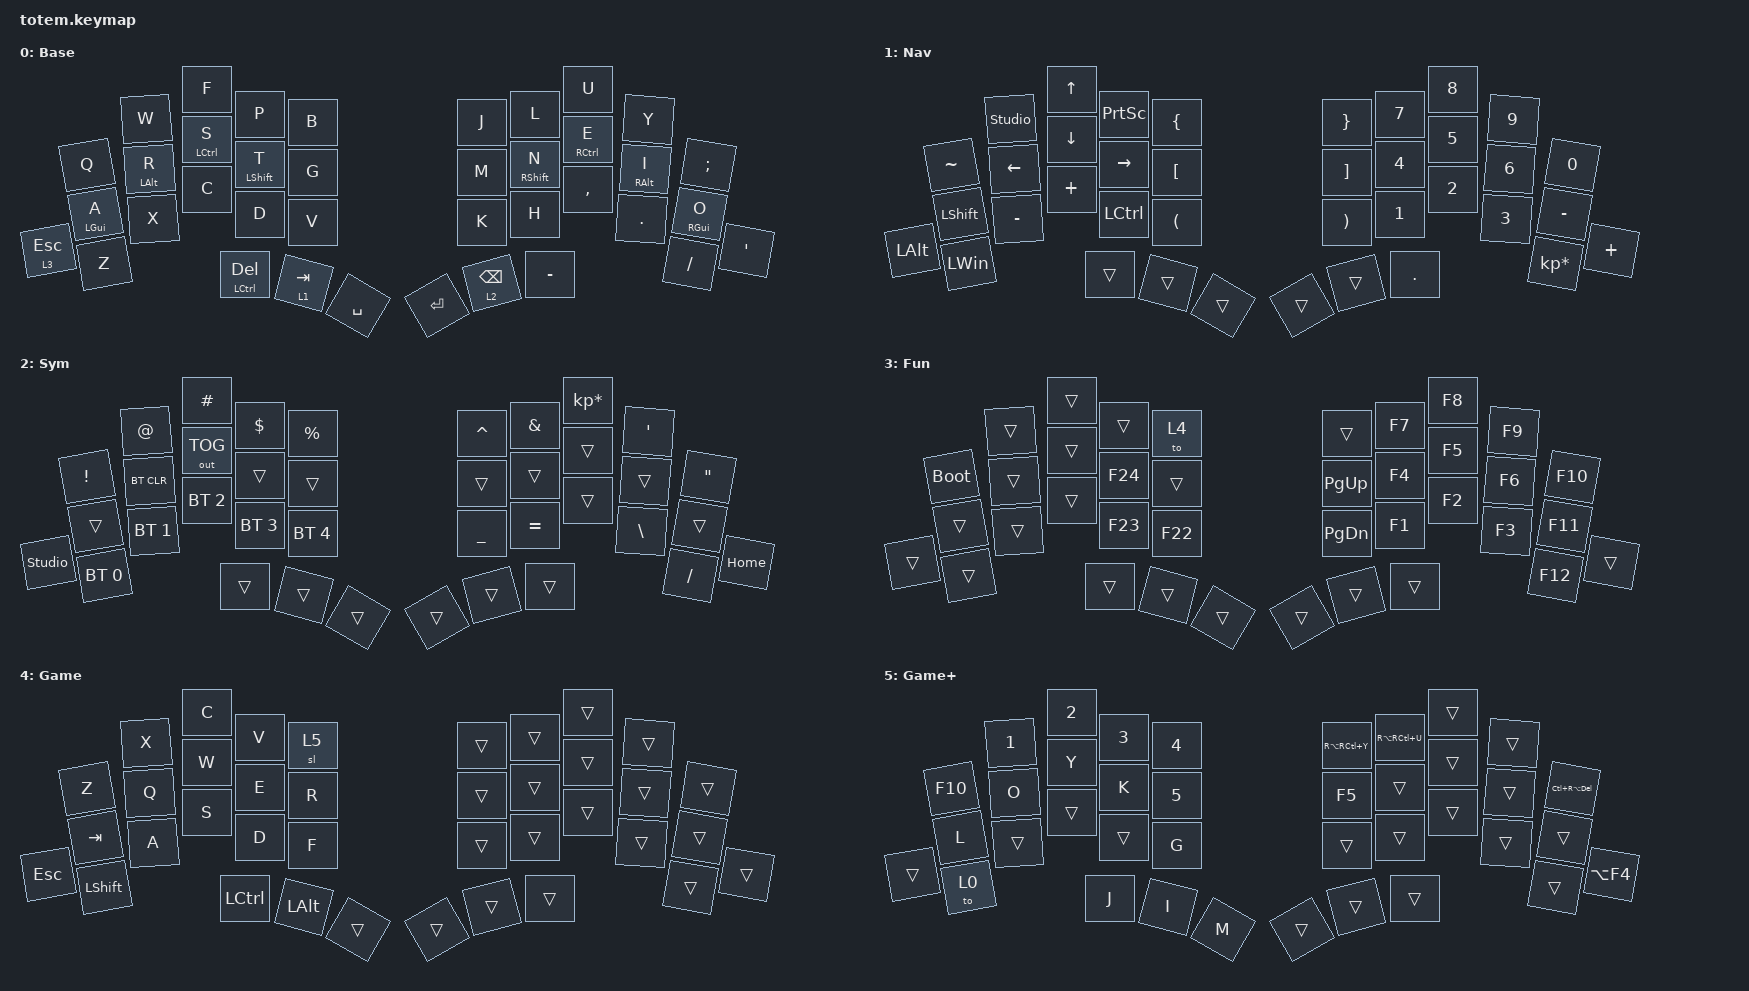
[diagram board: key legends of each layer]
//
//                                                        ▀▀▀▀▀     ▀▀▀▀▀          ▀▀█▀▀
//                                                        ▄▀▀▀▄  ▄  ▄▀▀▀▄  ▄  ▄▀▀▀▄  █  ▄▀▀▀▄
//                                                        █   █  █  █   █  █  █   █  █  █   █
//                                                         ▀▀▀   █   ▀▀▀   █   ▀▀▀   ▀   ▀▀▀
//                                                               █      ▄▄▄█▄▄▄    █   █  
//                                                               ▀      █  █  █     █▄█
//                                                             ▀▀▀▀▀    █  █  █      ▀
//                                                                      ▀  ▀  ▀
//
// ▄▄▄▄▄▄▄▄▄▄▄▄▄▄▄▄▄▄▄▄▄▄▄▄▄▄▄▄▄▄▄▄▄▄▄▄▄▄▄▄▄▄▄▄▄▄▄▄▄▄▄▄▄▄▄▄▄▄▄▄▄▄▄▄▄▄▄▄▄▄▄▄▄▄▄▄▄▄▄▄▄▄▄▄▄▄▄▄▄▄▄▄▄▄▄▄▄▄▄▄▄▄▄▄▄▄▄▄▄▄▄▄▄▄▄▄▄▄▄▄▄▄▄▄▄▄▄▄▄▄▄▄▄▄▄▄▄▄▄▄▄▄▄▄▄▄▄▄▄

#include <behaviors.dtsi>
#include <dt-bindings/zmk/bt.h>
#include <dt-bindings/zmk/keys.h>
#include <dt-bindings/zmk/outputs.h>

#define Base        0
#define Nav         1
#define Sym         2
#define Fun         3
#define Game        4
#define Gameplus    5

&mt {
    quick-tap-ms = <100>;
    global-quick-tap;
    flavor = "tap-preferred";
    tapping-term-ms = <170>;
};

&lt {
    tapping-term-ms = <240>;
    flavor = "balanced";
    quick-tap-ms = <150>;
};

/ {
    behaviors {
        hm: homerow_mods {
            compatible = "zmk,behavior-hold-tap";
            label = "HOMEROW_MODS";
            #binding-cells = <2>;
            flavor = "tap-preferred";
            tapping-term-ms = <200>;
            quick-tap-ms = <125>;
            global-quick-tap;
            bindings = <&kp>, <&kp>;
        };
    };

    combos { compatible = "zmk,combos"; };

    keymap {
        compatible = "zmk,keymap";

        Base {
            display-name = "Base";
            bindings = <
              &kp Q       &kp W       &kp F          &kp P         &kp B        &kp J    &kp L        &kp U        &kp Y       &kp SEMICOLON
              &hm LGUI A  &hm LALT R  &hm LCTRL S    &hm LSHIFT T  &kp G        &kp M    &hm RSHFT N  &hm RCTRL E  &hm RALT I  &hm RGUI O
&lt 3 ESCAPE  &kp Z       &kp X       &kp C          &kp D         &kp V        &kp K    &kp H        &kp COMMA    &kp DOT     &kp SLASH      &kp APOSTROPHE
                                      &mt LCTRL DEL  &lt 1 TAB     &kp SPACE    &kp RET  &lt 2 BSPC   &kp MINUS
            >;
        };

        Nav {
            display-name = "Nav";
            bindings = <
              &kp TILDE       &studio_unlock  &kp UP_ARROW  &kp PRINTSCREEN   &kp LBRC    &kp RBRC  &kp NUMBER_7  &kp NUMBER_8  &kp NUMBER_9  &kp NUMBER_0
              &kp LEFT_SHIFT  &kp LEFT        &kp DOWN      &kp RIGHT         &kp LBKT    &kp RBKT  &kp NUMBER_4  &kp NUMBER_5  &kp NUMBER_6  &kp MINUS
&kp LEFT_ALT  &kp LEFT_WIN    &kp MINUS       &kp PLUS      &kp LEFT_CONTROL  &kp LPAR    &kp RPAR  &kp NUMBER_1  &kp NUMBER_2  &kp NUMBER_3  &kp KP_MULTIPLY  &kp PLUS
                                              &trans        &trans            &trans      &trans    &trans        &kp DOT
            >;
        };

        Sym {
            display-name = "Sym";
            bindings = <
                &kp EXCL      &kp AT        &kp HASH      &kp DOLLAR    &kp PERCENT     &kp CARET  &kp AMPERSAND  &kp KP_ASTERISK  &kp SQT        &kp DQT
                &trans        &bt BT_CLR    &out OUT_TOG  &trans        &trans          &trans     &trans         &trans           &trans         &trans
&studio_unlock  &bt BT_SEL 0  &bt BT_SEL 1  &bt BT_SEL 2  &bt BT_SEL 3  &bt BT_SEL 4    &kp UNDER  &kp EQUAL      &trans           &kp BACKSLASH  &kp SLASH  &kp HOME
                                            &trans        &trans        &trans          &trans     &trans         &trans
            >;
        };

        Fun {
            display-name = "Fun";
            bindings = <
        &bootloader  &trans  &trans  &trans   &to 4      &trans         &kp F7  &kp F8  &kp F9  &kp F10
        &trans       &trans  &trans  &kp F24  &trans     &kp PAGE_UP    &kp F4  &kp F5  &kp F6  &kp F11
&trans  &trans       &trans  &trans  &kp F23  &kp F22    &kp PAGE_DOWN  &kp F1  &kp F2  &kp F3  &kp F12  &trans
                             &trans  &trans   &trans     &trans         &trans  &trans
            >;
        };

        Gaming {
            display-name = "Game";
            bindings = <
            &kp Z           &kp X  &kp C      &kp V         &sl 5     &trans  &trans  &trans  &trans  &trans
            &kp TAB         &kp Q  &kp W      &kp E         &kp R     &trans  &trans  &trans  &trans  &trans
&kp ESCAPE  &kp LEFT_SHIFT  &kp A  &kp S      &kp D         &kp F     &trans  &trans  &trans  &trans  &trans  &trans
                                   &kp LCTRL  &kp LEFT_ALT  &trans    &trans  &trans  &trans
            >;
        };

        Gaming+ {
            display-name = "Game+";
            bindings = <
        &kp F10  &kp NUMBER_1  &kp NUMBER_2  &kp NUMBER_3  &kp NUMBER_4    &kp RA(RC(Y))  &kp RA(RC(U))  &trans  &trans  &kp LC(RA(DEL))
        &kp L    &kp O         &kp Y         &kp K         &kp NUMBER_5    &kp F5         &trans         &trans  &trans  &trans
&trans  &to 0    &trans        &trans        &trans        &kp G           &trans         &trans         &trans  &trans  &trans           &kp LA(F4)
                               &kp J         &kp I         &kp M           &trans         &trans         &trans
            >;
        };
    };
};
